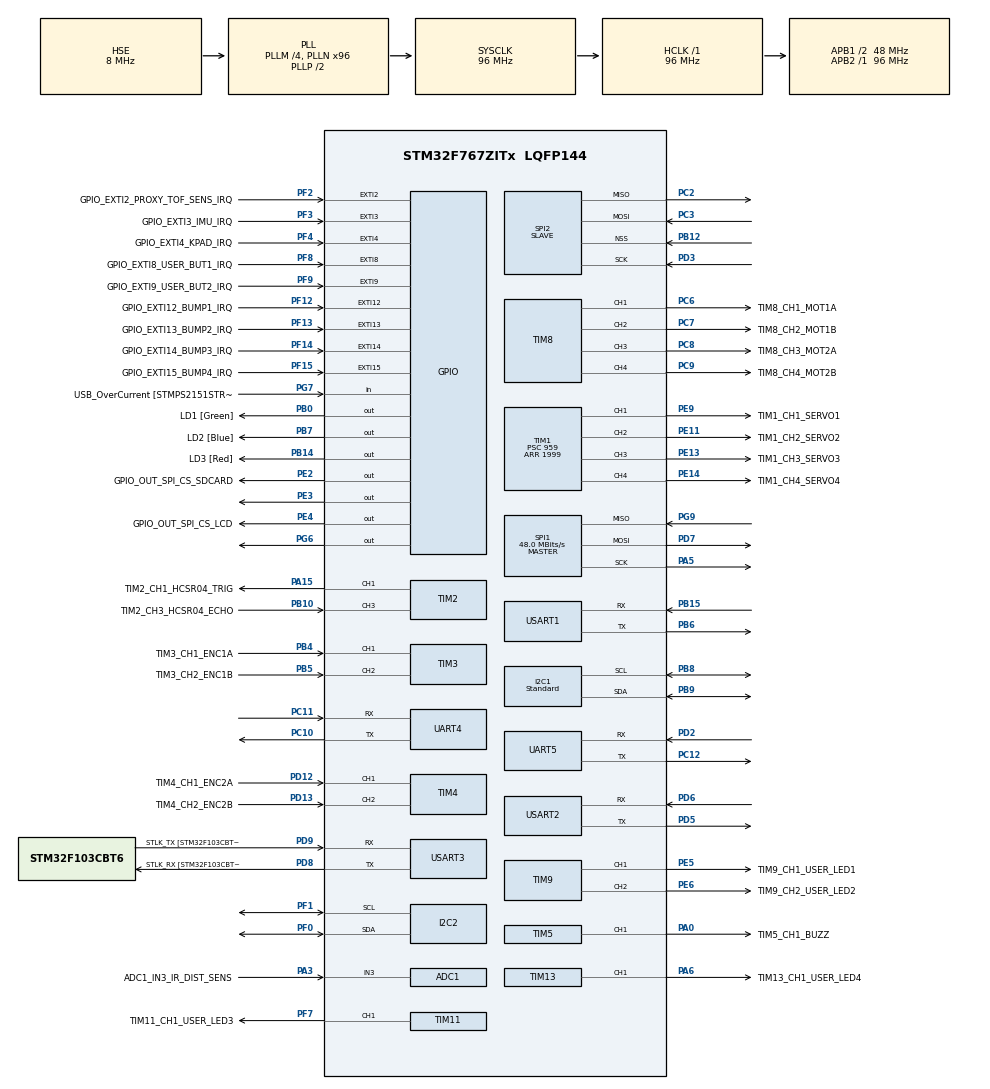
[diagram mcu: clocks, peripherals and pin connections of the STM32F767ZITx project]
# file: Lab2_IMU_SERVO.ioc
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ADC1.Channel-1\#ChannelRegularConversion=ADC_CHANNEL_3
ADC1.NbrOfConversionFlag=1
ADC1.Rank-1\#ChannelRegularConversion=1
ADC1.SamplingTime-1\#ChannelRegularConversion=ADC_SAMPLETIME_3CYCLES
ADC1.master=1
I2C1.I2C_Speed_Mode=I2C_Standard
I2C1.Timing=0x20303E5D
I2C2.Timing=0x20303E5D
Mcu.Family=STM32F7
Mcu.Name=STM32F767ZITx
Mcu.Package=LQFP144
NVIC.EXTI2_IRQn=true\:1\:0\:true\:false\:true\:true\:true\:true
NVIC.PriorityGroup=NVIC_PRIORITYGROUP_4
PA0/WKUP.GPIO_Label=TIM5_CH1_BUZZ
PA0/WKUP.Signal=S_TIM5_CH1
PA1.GPIO_Label=RMII_REF_CLK [LAN8742A-CZ-TR_REFCLK0]
PA1.Signal=ETH_REF_CLK
PA10.GPIO_Label=USB_ID
PA10.Signal=USB_OTG_FS_ID
PA11.GPIO_Label=USB_DM
PA11.Signal=USB_OTG_FS_DM
PA12.GPIO_Label=USB_DP
PA12.Signal=USB_OTG_FS_DP
PA13.GPIO_Label=TMS
PA13.Mode=Serial_Wire
PA13.Signal=SYS_JTMS-SWDIO
PA14.GPIO_Label=TCK
PA14.Mode=Serial_Wire
PA14.Signal=SYS_JTCK-SWCLK
PA15.GPIO_Label=TIM2_CH1_HCSR04_TRIG
PA15.Signal=S_TIM2_CH1_ETR
PA2.GPIO_Label=RMII_MDIO [LAN8742A-CZ-TR_MDIO]
PA2.Signal=ETH_MDIO
PA3.GPIO_Label=ADC1_IN3_IR_DIST_SENS
PA3.Signal=ADCx_IN3
PA5.Mode=Full_Duplex_Master
PA5.Signal=SPI1_SCK
PA6.GPIO_Label=TIM13_CH1_USER_LED4
PA6.Signal=S_TIM13_CH1
PA7.GPIO_Label=RMII_CRS_DV [LAN8742A-CZ-TR_CRS_DV]
PA7.Signal=ETH_CRS_DV
PA8.GPIO_Label=USB_SOF [TP1]
PA8.Signal=USB_OTG_FS_SOF
PA9.GPIO_Label=USB_VBUS
PA9.Signal=USB_OTG_FS_VBUS
PB0.GPIO_Label=LD1 [Green]
PB0.Signal=GPIO_Output
PB10.GPIO_Label=TIM2_CH3_HCSR04_ECHO
PB10.Signal=S_TIM2_CH3
PB12.Mode=NSS_Signal_Hard_Input
PB12.Signal=SPI2_NSS
PB13.GPIO_Label=RMII_TXD1 [LAN8742A-CZ-TR_TXD1]
PB13.Signal=ETH_TXD1
PB14.GPIO_Label=LD3 [Red]
PB14.Signal=GPIO_Output
PB15.Mode=Asynchronous
PB15.Signal=USART1_RX
PB3.GPIO_Label=SWO
PB3.Signal=SYS_JTDO-SWO
PB4.GPIO_Label=TIM3_CH1_ENC1A
PB4.Signal=S_TIM3_CH1
PB5.GPIO_Label=TIM3_CH2_ENC1B
PB5.Signal=S_TIM3_CH2
PB6.Mode=Asynchronous
PB6.Signal=USART1_TX
PB7.GPIO_Label=LD2 [Blue]
PB7.Signal=GPIO_Output
PB8.GPIO_Pu=GPIO_PULLUP
PB8.Mode=I2C
PB8.Signal=I2C1_SCL
PB9.GPIO_Pu=GPIO_PULLUP
PB9.Mode=I2C
PB9.Signal=I2C1_SDA
PC1.GPIO_Label=RMII_MDC [LAN8742A-CZ-TR_MDC]
PC1.Signal=ETH_MDC
PC10.Mode=Asynchronous
PC10.Signal=UART4_TX
PC11.Mode=Asynchronous
PC11.Signal=UART4_RX
PC12.Mode=Asynchronous
PC12.Signal=UART5_TX
PC14/OSC32_IN.Mode=LSE-External-Oscillator
PC14/OSC32_IN.Signal=RCC_OSC32_IN
PC15/OSC32_OUT.Mode=LSE-External-Oscillator
PC15/OSC32_OUT.Signal=RCC_OSC32_OUT
PC2.Mode=Full_Duplex_Slave
PC2.Signal=SPI2_MISO
PC3.Mode=Full_Duplex_Slave
PC3.Signal=SPI2_MOSI
PC4.GPIO_Label=RMII_RXD0 [LAN8742A-CZ-TR_RXD0]
PC4.Signal=ETH_RXD0
PC5.GPIO_Label=RMII_RXD1 [LAN8742A-CZ-TR_RXD1]
PC5.Signal=ETH_RXD1
PC6.GPIO_Label=TIM8_CH1_MOT1A
PC6.Signal=S_TIM8_CH1
PC7.GPIO_Label=TIM8_CH2_MOT1B
PC7.Signal=S_TIM8_CH2
PC8.GPIO_Label=TIM8_CH3_MOT2A
PC8.Signal=S_TIM8_CH3
PC9.GPIO_Label=TIM8_CH4_MOT2B
PC9.Signal=S_TIM8_CH4
PD12.GPIO_Label=TIM4_CH1_ENC2A
PD12.Signal=S_TIM4_CH1
PD13.GPIO_Label=TIM4_CH2_ENC2B
PD13.Signal=S_TIM4_CH2
PD2.Mode=Asynchronous
PD2.Signal=UART5_RX
PD3.Mode=Full_Duplex_Slave
PD3.Signal=SPI2_SCK
PD5.Mode=Asynchronous
PD5.Signal=USART2_TX
PD6.Mode=Asynchronous
PD6.Signal=USART2_RX
PD7.Mode=Full_Duplex_Master
PD7.Signal=SPI1_MOSI
PD8.GPIO_Label=STLK_RX [STM32F103CBT6_PA3]
PD8.Mode=Asynchronous
PD8.Signal=USART3_TX
PD9.GPIO_Label=STLK_TX [STM32F103CBT6_PA2]
PD9.Mode=Asynchronous
PD9.Signal=USART3_RX
PE11.GPIO_Label=TIM1_CH2_SERVO2
PE11.Signal=S_TIM1_CH2
PE13.GPIO_Label=TIM1_CH3_SERVO3
PE13.Signal=S_TIM1_CH3
PE14.GPIO_Label=TIM1_CH4_SERVO4
PE14.Signal=S_TIM1_CH4
PE2.GPIO_Label=GPIO_OUT_SPI_CS_SDCARD
PE2.Signal=GPIO_Output
PE3.Signal=GPIO_Output
PE4.GPIO_Label=GPIO_OUT_SPI_CS_LCD
PE4.Signal=GPIO_Output
PE5.GPIO_Label=TIM9_CH1_USER_LED1
PE5.Signal=S_TIM9_CH1
PE6.GPIO_Label=TIM9_CH2_USER_LED2
PE6.Signal=S_TIM9_CH2
PE9.GPIO_Label=TIM1_CH1_SERVO1
PE9.Signal=S_TIM1_CH1
PF0.GPIO_Pu=GPIO_PULLUP
PF0.Mode=I2C
PF0.Signal=I2C2_SDA
PF1.GPIO_Pu=GPIO_PULLUP
PF1.Mode=I2C
PF1.Signal=I2C2_SCL
PF12.GPIO_Label=GPIO_EXTI12_BUMP1_IRQ
PF12.Signal=GPXTI12
PF13.GPIO_Label=GPIO_EXTI13_BUMP2_IRQ
PF13.Signal=GPXTI13
PF14.GPIO_Label=GPIO_EXTI14_BUMP3_IRQ
PF14.Signal=GPXTI14
PF15.GPIO_Label=GPIO_EXTI15_BUMP4_IRQ
PF15.Signal=GPXTI15
PF2.GPIO_Label=GPIO_EXTI2_PROXY_TOF_SENS_IRQ
PF2.GPIO_ModeDefaultEXTI=GPIO_MODE_IT_FALLING
PF2.Signal=GPXTI2
PF3.GPIO_Label=GPIO_EXTI3_IMU_IRQ
PF3.Signal=GPXTI3
PF4.GPIO_Label=GPIO_EXTI4_KPAD_IRQ
PF4.Signal=GPXTI4
PF7.GPIO_Label=TIM11_CH1_USER_LED3
PF7.Signal=S_TIM11_CH1
PF8.GPIO_Label=GPIO_EXTI8_USER_BUT1_IRQ
PF8.Signal=GPXTI8
PF9.GPIO_Label=GPIO_EXTI9_USER_BUT2_IRQ
PF9.Signal=GPXTI9
PG11.GPIO_Label=RMII_TX_EN [LAN8742A-CZ-TR_TXEN]
PG11.Signal=ETH_TX_EN
PG13.GPIO_Label=RMII_TXD0 [LAN8742A-CZ-TR_TXD0]
PG13.Signal=ETH_TXD0
PG6.Signal=GPIO_Output
PG7.GPIO_Label=USB_OverCurrent [STMPS2151STR_FAULT]
PG7.Signal=GPIO_Input
PG9.Mode=Full_Duplex_Master
PG9.Signal=SPI1_MISO
PH0/OSC_IN.GPIO_Label=MCO [STM32F103CBT6_PA8]
PH0/OSC_IN.Mode=HSE-External-Clock-Source
PH0/OSC_IN.Signal=RCC_OSC_IN
PH1/OSC_OUT.Mode=HSE-External-Clock-Source
PH1/OSC_OUT.Signal=RCC_OSC_OUT
ProjectManager.HeapSize=0x200
ProjectManager.StackSize=0x400
ProjectManager.TargetToolchain=STM32CubeIDE
RCC.48MHZClocksFreq_Value=24000000
RCC.AHBFreq_Value=96000000
RCC.APB1CLKDivider=RCC_HCLK_DIV2
RCC.APB1Freq_Value=48000000
RCC.APB1TimFreq_Value=96000000
RCC.APB2Freq_Value=96000000
RCC.APB2TimFreq_Value=96000000
RCC.CortexFreq_Value=96000000
RCC.HCLKFreq_Value=96000000
RCC.HSE_VALUE=8000000
RCC.HSI_VALUE=16000000
RCC.PLLM=4
RCC.PLLMUL=RCC_PLL_MUL9
RCC.PLLN=96
RCC.PLLQ=4
RCC.PLLSourceVirtual=RCC_PLLSOURCE_HSE
RCC.PRESCALERUSB=RCC_USBCLKSOURCE_PLL_DIV1_5
RCC.SYSCLKFreq_VALUE=96000000
RCC.SYSCLKSource=RCC_SYSCLKSOURCE_PLLCLK
RCC.SYSCLKSourceVirtual=RCC_SYSCLKSOURCE_PLLCLK
RCC.USBFreq_Value=48000000
RCC.VCOOutputFreq_Value=192000000
SH.ADCx_IN3.0=ADC1_IN3,IN3
SH.S_TIM11_CH1.0=TIM11_CH1,PWM Generation1 CH1
SH.S_TIM13_CH1.0=TIM13_CH1,PWM Generation1 CH1
SH.S_TIM1_CH1.0=TIM1_CH1,PWM Generation1 CH1
SH.S_TIM1_CH2.0=TIM1_CH2,PWM Generation2 CH2
SH.S_TIM1_CH3.0=TIM1_CH3,PWM Generation3 CH3
SH.S_TIM1_CH4.0=TIM1_CH4,PWM Generation4 CH4
SH.S_TIM2_CH1_ETR.0=TIM2_CH1,PWM Generation1 CH1
SH.S_TIM2_CH3.0=TIM2_CH3,Input_Capture3_from_TI3
SH.S_TIM3_CH1.0=TIM3_CH1,Encoder_Interface
SH.S_TIM3_CH2.0=TIM3_CH2,Encoder_Interface
SH.S_TIM4_CH1.0=TIM4_CH1,Encoder_Interface
SH.S_TIM4_CH2.0=TIM4_CH2,Encoder_Interface
SH.S_TIM5_CH1.0=TIM5_CH1,PWM Generation1 CH1
SH.S_TIM8_CH1.0=TIM8_CH1,PWM Generation1 CH1
SH.S_TIM8_CH2.0=TIM8_CH2,PWM Generation2 CH2
SH.S_TIM8_CH3.0=TIM8_CH3,PWM Generation3 CH3
SH.S_TIM8_CH4.0=TIM8_CH4,PWM Generation4 CH4
SH.S_TIM9_CH1.0=TIM9_CH1,PWM Generation1 CH1
SH.S_TIM9_CH2.0=TIM9_CH2,PWM Generation2 CH2
SPI1.CalculateBaudRate=48.0 MBits/s
SPI1.Direction=SPI_DIRECTION_2LINES
SPI1.Mode=SPI_MODE_MASTER
SPI1.VirtualType=VM_MASTER
SPI2.Direction=SPI_DIRECTION_2LINES
SPI2.Mode=SPI_MODE_SLAVE
SPI2.VirtualNSS=VM_NSSHARD
SPI2.VirtualType=VM_SLAVE
TIM1.Channel-PWM\ Generation1\ CH1=TIM_CHANNEL_1
TIM1.Channel-PWM\ Generation2\ CH2=TIM_CHANNEL_2
TIM1.Channel-PWM\ Generation3\ CH3=TIM_CHANNEL_3
TIM1.Channel-PWM\ Generation4\ CH4=TIM_CHANNEL_4
TIM1.Period=1999
TIM1.Prescaler=959
TIM11.Channel=TIM_CHANNEL_1
TIM13.Channel=TIM_CHANNEL_1
TIM2.Channel-Input_Capture3_from_TI3=TIM_CHANNEL_3
TIM2.Channel-PWM\ Generation1\ CH1=TIM_CHANNEL_1
TIM5.Channel-PWM\ Generation1\ CH1=TIM_CHANNEL_1
TIM8.Channel-PWM\ Generation1\ CH1=TIM_CHANNEL_1
TIM8.Channel-PWM\ Generation2\ CH2=TIM_CHANNEL_2
TIM8.Channel-PWM\ Generation3\ CH3=TIM_CHANNEL_3
TIM8.Channel-PWM\ Generation4\ CH4=TIM_CHANNEL_4
TIM9.Channel-PWM\ Generation1\ CH1=TIM_CHANNEL_1
TIM9.Channel-PWM\ Generation2\ CH2=TIM_CHANNEL_2
USART1.VirtualMode-Asynchronous=VM_ASYNC
USART2.VirtualMode-Asynchronous=VM_ASYNC
USART3.VirtualMode-Asynchronous=VM_ASYNC
VP_TIM11_VS_ClockSourceINT.Mode=Enable_Timer
VP_TIM13_VS_ClockSourceINT.Mode=Enable_Timer
VP_TIM1_VS_ClockSourceINT.Mode=Internal
VP_TIM2_VS_ClockSourceINT.Mode=Internal
VP_TIM5_VS_ClockSourceINT.Mode=Internal
VP_TIM8_VS_ClockSourceINT.Mode=Internal
board=NUCLEO-F767ZI

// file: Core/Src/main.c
/* USER CODE BEGIN Header */
/**
 ******************************************************************************
 * @file           : main.c
 * @brief          : Main program body
 ******************************************************************************
 * @attention
 *
 * <h2><center>&copy; Copyright (c) 2021 STMicroelectronics.
 * All rights reserved.</center></h2>
 *
 * This software component is licensed by ST under BSD 3-Clause license,
 * the "License"; You may not use this file except in compliance with the
 * License. You may obtain a copy of the License at:
 *                        opensource.org/licenses/BSD-3-Clause
 *
 ******************************************************************************
 */
/* USER CODE END Header */
#include "main.h"

/* USER CODE BEGIN Includes */
#include <stdio.h>
#include "bno055.h"
#include "ertc-datalogger.h"
#include <math.h>
/* USER CODE END Includes */

/* USER CODE BEGIN PD */
#define HAL_TIMEOUT 100

#define I2C_TIMEOUT 200

// servos limits
#define SERVO_MAX_VALUE 200
#define SERVO_MIN_VALUE 100

// Conversion
#define RAD2DEG 57.2958
#define alfa 0.70

/* USER CODE END PD */

ADC_HandleTypeDef hadc1;

I2C_HandleTypeDef hi2c1;
I2C_HandleTypeDef hi2c2;

SPI_HandleTypeDef hspi1;
SPI_HandleTypeDef hspi2;

TIM_HandleTypeDef htim1;
TIM_HandleTypeDef htim2;
TIM_HandleTypeDef htim3;
TIM_HandleTypeDef htim4;
TIM_HandleTypeDef htim5;
TIM_HandleTypeDef htim8;
TIM_HandleTypeDef htim9;
TIM_HandleTypeDef htim11;
TIM_HandleTypeDef htim13;

UART_HandleTypeDef huart4;
UART_HandleTypeDef huart5;
UART_HandleTypeDef huart1;
UART_HandleTypeDef huart2;
UART_HandleTypeDef huart3;

void SystemClock_Config(void);
static void MX_GPIO_Init(void);
static void MX_USART3_UART_Init(void);
static void MX_ADC1_Init(void);
static void MX_I2C1_Init(void);
static void MX_I2C2_Init(void);
static void MX_SPI1_Init(void);
static void MX_TIM1_Init(void);
static void MX_TIM2_Init(void);
static void MX_TIM3_Init(void);
static void MX_TIM4_Init(void);
static void MX_TIM5_Init(void);
static void MX_TIM8_Init(void);
static void MX_UART4_Init(void);
static void MX_UART5_Init(void);
static void MX_USART1_UART_Init(void);
static void MX_USART2_UART_Init(void);
static void MX_TIM9_Init(void);
static void MX_SPI2_Init(void);
static void MX_TIM11_Init(void);
static void MX_TIM13_Init(void);
/* USER CODE BEGIN PFP */
extern void initialise_monitor_handles(void);
uint32_t saturate(uint32_t val, uint32_t min, uint32_t max);
/* USER CODE END PFP */

/* USER CODE BEGIN 0 */
void error()
{
  // printf("An error has occurred\n")
  while (1)
    ;
}

/*base structure to communicate with the imu*/
struct bno055_t bno055;

/* structure used to read the accel xyz data output as m/s2 or mg */
struct bno055_accel_double_t d_accel_xyz;
/* structure used to read the gyro xyz data output as dps or rps */
struct bno055_gyro_double_t d_gyro_xyz;

int8_t bus_read_wrapper(uint8_t dev_addr, uint8_t reg_addr, uint8_t *reg_data, uint8_t r_len)
{
  HAL_StatusTypeDef status;
  status = HAL_I2C_Mem_Read(&hi2c1, dev_addr << 1, reg_addr, 1, reg_data, r_len, I2C_TIMEOUT);
  return (int8_t)status;
}

int8_t bus_write_wrapper(uint8_t dev_addr, uint8_t reg_addr, uint8_t *reg_data, uint8_t wr_len)
{
  HAL_StatusTypeDef status;
  status = HAL_I2C_Mem_Write(&hi2c1, dev_addr << 1, reg_addr, 1, reg_data, wr_len, I2C_TIMEOUT);
  return (int8_t)status;
}

void delay_wrapper(u32 delay)
{
  HAL_Delay(delay);
}

uint32_t saturate(uint32_t val, uint32_t min, uint32_t max){
	if(val<min)
		return min;
	else if(val>max)
		return max;
	else
		return val;
}

float saturateFloat(float val, float min, float max){
	if(val<min)
		return min;
	else if(val>max)
		return max;
	else
		return val;
}

/* declare an ertc_dlog struct */
struct ertc_dlog logger;
struct datalog
{
	float ay; // It is not necessary to send everything also ay;
	float d_thx, d_thz;  // It is not necessary to send everything also d_thx, d_thy.
	float robot_tilt, tilt;
	//float robot_pan, pan;
	float theta1, theta2;
} logger_data;

int8_t pan = 0;
int8_t tilt = 0;
int8_t robot_tilt=0;
int8_t robot_pan= 0;

float angle = 0;
float theta2 = 0;
float G= 9.81; // [m/s] gravitational acceleration.

/* USER CODE END 0 */

/*---------------------------------------------------------------------------------------------------
 *
 * 										BEGIN OF MAIN
 *
 *----------------------------------------------------------------------------------------------------
 */
int main(void)
{

  /* MCU Configuration--------------------------------------------------------*/

  /* Reset of all peripherals, Initializes the Flash interface and the Systick. */
  HAL_Init();

  /* USER CODE BEGIN Init */
  // initialise_monitor_handles();
  /* USER CODE END Init */

  /* Configure the system clock */
  SystemClock_Config();

  /* Initialize all configured peripherals */
  MX_GPIO_Init();
  MX_USART3_UART_Init();
  MX_ADC1_Init();
  MX_I2C1_Init();
  MX_I2C2_Init();
  MX_SPI1_Init();
  MX_TIM1_Init();
  MX_TIM2_Init();
  MX_TIM3_Init();
  MX_TIM4_Init();
  MX_TIM5_Init();
  MX_TIM8_Init();
  MX_UART4_Init();
  MX_UART5_Init();
  MX_USART1_UART_Init();
  MX_USART2_UART_Init();
  MX_TIM9_Init();
  MX_SPI2_Init();
  MX_TIM11_Init();
  MX_TIM13_Init();
  /* USER CODE BEGIN 2 */

  /* Configure data logger  */
  logger.uart_handle = huart3; // for serial
  //logger.uart_handle = huart2; // for wifi

  /* Disable LCD SPI SS */
  HAL_GPIO_WritePin(GPIO_OUT_SPI_CS_LCD_GPIO_Port, GPIO_OUT_SPI_CS_LCD_Pin, GPIO_PIN_SET);

  bno055.bus_write = bus_write_wrapper;
  bno055.bus_read = bus_read_wrapper;
  bno055.delay_msec = delay_wrapper;
  bno055.dev_addr = 0x28;
  int32_t comres = bno055_init(&bno055);

  comres += bno055_set_power_mode(BNO055_POWER_MODE_NORMAL);
  comres += bno055_set_operation_mode(BNO055_OPERATION_MODE_AMG);

  HAL_TIM_PWM_Start(&htim1, TIM_CHANNEL_2);
  HAL_TIM_PWM_Start(&htim1, TIM_CHANNEL_3);

  /* USER CODE END 2 */

  // Computation of actual acceleration of the accelerometer.
  bno055_convert_double_accel_xyz_msq(&d_accel_xyz);
  G = sqrt(pow(d_accel_xyz.x, 2) + pow(d_accel_xyz.y,2) + pow(d_accel_xyz.z,2));

  /* Infinite loop */
  /* USER CODE BEGIN WHILE */
  while (1)
  {
	  HAL_Delay(20);
	  bno055_convert_double_accel_xyz_msq(&d_accel_xyz);
	  bno055_convert_double_gyro_xyz_rps(&d_gyro_xyz);

	  // Exercise 1 ------------------------------------------------------------------
	  robot_tilt=asin(d_accel_xyz.y/G)*RAD2DEG;	      // Pitch angle of the robot in deg
	  tilt=-robot_tilt;  //Control action for tilt control

	  // Bonus 1   -------------------------------------------------------------------
	  angle+=d_gyro_xyz.z*0.02*RAD2DEG; //dt isn't right because we have the delay about the sending data too
	  pan=-angle;

	  // Bonus 2   --------------------------------------------------------------------
	  float theta1 = asin(d_accel_xyz.y/G)*RAD2DEG;
	  theta2 += -d_gyro_xyz.x*0.02*RAD2DEG;
	  float theta = alfa*theta1+(1-alfa)*theta2;
	  tilt = - theta;

	  /* update pan-tilt camera */
	  __HAL_TIM_SET_COMPARE(&htim1, TIM_CHANNEL_3,
					(uint32_t)saturate((150+tilt*(50.0/45.0)), SERVO_MIN_VALUE, SERVO_MAX_VALUE)); // tilt
	  __HAL_TIM_SET_COMPARE(&htim1, TIM_CHANNEL_2,
					(uint32_t)saturate((150+pan*(50.0/45.0)), SERVO_MIN_VALUE, SERVO_MAX_VALUE)); // pan

      //htim8.Instance->CNT:

	  //logger_data.ax = d_accel_xyz.x;
	  logger_data.ay = d_accel_xyz.y;
	  //logger_data.az = d_accel_xyz.z;

	  logger_data.d_thx = d_gyro_xyz.x;
	  //logger_data.d_thy = d_gyro_xyz.y;
	  logger_data.d_thz = d_gyro_xyz.z;

	  //logger_data.robot_tilt=robot_tilt; // For bonus 1.
	  logger_data.robot_tilt= theta; // For bonus 2 we send the complete angle
	  logger_data.tilt=tilt;

	  //logger_data.robot_pan = angle;
	  //logger_data.pan = pan;

	  logger_data.theta1 = theta1;
	  logger_data.theta2 = theta2;

	  ertc_dlog_send(&logger, &logger_data, sizeof(logger_data)); //Check if someone is connected and waiting for data
	  ertc_dlog_update(&logger); // send data

  }
  /* USER CODE END WHILE */
}

/*------------------------------------------------------------------------------------------------
 *
 * 											END OF MAIN
 *
 * ----------------------------------------------------------------------------------------------------
 */

void SystemClock_Config(void)
{
  RCC_OscInitTypeDef RCC_OscInitStruct = {0};
  RCC_ClkInitTypeDef RCC_ClkInitStruct = {0};

  /** Configure LSE Drive Capability
  */
  HAL_PWR_EnableBkUpAccess();

  /** Configure the main internal regulator output voltage
  */
  __HAL_RCC_PWR_CLK_ENABLE();
  __HAL_PWR_VOLTAGESCALING_CONFIG(PWR_REGULATOR_VOLTAGE_SCALE3);

  /** Initializes the RCC Oscillators according to the specified parameters
  * in the RCC_OscInitTypeDef structure.
  */
  RCC_OscInitStruct.OscillatorType = RCC_OSCILLATORTYPE_HSE;
  RCC_OscInitStruct.HSEState = RCC_HSE_BYPASS;
  RCC_OscInitStruct.PLL.PLLState = RCC_PLL_ON;
  RCC_OscInitStruct.PLL.PLLSource = RCC_PLLSOURCE_HSE;
  RCC_OscInitStruct.PLL.PLLM = 4;
  RCC_OscInitStruct.PLL.PLLN = 96;
  RCC_OscInitStruct.PLL.PLLP = RCC_PLLP_DIV2;
  RCC_OscInitStruct.PLL.PLLQ = 4;
  RCC_OscInitStruct.PLL.PLLR = 2;
  if (HAL_RCC_OscConfig(&RCC_OscInitStruct) != HAL_OK)
  {
    Error_Handler();
  }

  /** Activate the Over-Drive mode
  */
  if (HAL_PWREx_EnableOverDrive() != HAL_OK)
  {
    Error_Handler();
  }

  /** Initializes the CPU, AHB and APB buses clocks
  */
  RCC_ClkInitStruct.ClockType = RCC_CLOCKTYPE_HCLK|RCC_CLOCKTYPE_SYSCLK
                              |RCC_CLOCKTYPE_PCLK1|RCC_CLOCKTYPE_PCLK2;
  RCC_ClkInitStruct.SYSCLKSource = RCC_SYSCLKSOURCE_PLLCLK;
  RCC_ClkInitStruct.AHBCLKDivider = RCC_SYSCLK_DIV1;
  RCC_ClkInitStruct.APB1CLKDivider = RCC_HCLK_DIV2;
  RCC_ClkInitStruct.APB2CLKDivider = RCC_HCLK_DIV1;

  if (HAL_RCC_ClockConfig(&RCC_ClkInitStruct, FLASH_LATENCY_3) != HAL_OK)
  {
    Error_Handler();
  }
}

static void MX_ADC1_Init(void)
{

  ADC_ChannelConfTypeDef sConfig = {0};

  /** Configure the global features of the ADC (Clock, Resolution, Data Alignment and number of conversion)
  */
  hadc1.Instance = ADC1;
  hadc1.Init.ClockPrescaler = ADC_CLOCK_SYNC_PCLK_DIV4;
  hadc1.Init.Resolution = ADC_RESOLUTION_12B;
  hadc1.Init.ScanConvMode = ADC_SCAN_DISABLE;
  hadc1.Init.ContinuousConvMode = DISABLE;
  hadc1.Init.DiscontinuousConvMode = DISABLE;
  hadc1.Init.ExternalTrigConvEdge = ADC_EXTERNALTRIGCONVEDGE_NONE;
  hadc1.Init.ExternalTrigConv = ADC_SOFTWARE_START;
  hadc1.Init.DataAlign = ADC_DATAALIGN_RIGHT;
  hadc1.Init.NbrOfConversion = 1;
  hadc1.Init.DMAContinuousRequests = DISABLE;
  hadc1.Init.EOCSelection = ADC_EOC_SINGLE_CONV;
  if (HAL_ADC_Init(&hadc1) != HAL_OK)
  {
    Error_Handler();
  }

  /** Configure for the selected ADC regular channel its corresponding rank in the sequencer and its sample time.
  */
  sConfig.Channel = ADC_CHANNEL_3;
  sConfig.Rank = ADC_REGULAR_RANK_1;
  sConfig.SamplingTime = ADC_SAMPLETIME_3CYCLES;
  if (HAL_ADC_ConfigChannel(&hadc1, &sConfig) != HAL_OK)
  {
    Error_Handler();
  }

}

static void MX_I2C1_Init(void)
{

  hi2c1.Instance = I2C1;
  hi2c1.Init.Timing = 0x20303E5D;
  hi2c1.Init.OwnAddress1 = 0;
  hi2c1.Init.AddressingMode = I2C_ADDRESSINGMODE_7BIT;
  hi2c1.Init.DualAddressMode = I2C_DUALADDRESS_DISABLE;
  hi2c1.Init.OwnAddress2 = 0;
  hi2c1.Init.OwnAddress2Masks = I2C_OA2_NOMASK;
  hi2c1.Init.GeneralCallMode = I2C_GENERALCALL_DISABLE;
  hi2c1.Init.NoStretchMode = I2C_NOSTRETCH_DISABLE;
  if (HAL_I2C_Init(&hi2c1) != HAL_OK)
  {
    Error_Handler();
  }

  /** Configure Analogue filter
  */
  if (HAL_I2CEx_ConfigAnalogFilter(&hi2c1, I2C_ANALOGFILTER_ENABLE) != HAL_OK)
  {
    Error_Handler();
  }

  /** Configure Digital filter
  */
  if (HAL_I2CEx_ConfigDigitalFilter(&hi2c1, 0) != HAL_OK)
  {
    Error_Handler();
  }

}

static void MX_I2C2_Init(void)
{

  hi2c2.Instance = I2C2;
  hi2c2.Init.Timing = 0x20303E5D;
  hi2c2.Init.OwnAddress1 = 0;
  hi2c2.Init.AddressingMode = I2C_ADDRESSINGMODE_7BIT;
  hi2c2.Init.DualAddressMode = I2C_DUALADDRESS_DISABLE;
  hi2c2.Init.OwnAddress2 = 0;
  hi2c2.Init.OwnAddress2Masks = I2C_OA2_NOMASK;
  hi2c2.Init.GeneralCallMode = I2C_GENERALCALL_DISABLE;
  hi2c2.Init.NoStretchMode = I2C_NOSTRETCH_DISABLE;
  if (HAL_I2C_Init(&hi2c2) != HAL_OK)
  {
    Error_Handler();
  }

  /** Configure Analogue filter
  */
  if (HAL_I2CEx_ConfigAnalogFilter(&hi2c2, I2C_ANALOGFILTER_ENABLE) != HAL_OK)
  {
    Error_Handler();
  }

  /** Configure Digital filter
  */
  if (HAL_I2CEx_ConfigDigitalFilter(&hi2c2, 0) != HAL_OK)
  {
    Error_Handler();
  }

}

static void MX_SPI1_Init(void)
{

  /* SPI1 parameter configuration*/
  hspi1.Instance = SPI1;
  hspi1.Init.Mode = SPI_MODE_MASTER;
  hspi1.Init.Direction = SPI_DIRECTION_2LINES;
  hspi1.Init.DataSize = SPI_DATASIZE_4BIT;
  hspi1.Init.CLKPolarity = SPI_POLARITY_LOW;
  hspi1.Init.CLKPhase = SPI_PHASE_1EDGE;
  hspi1.Init.NSS = SPI_NSS_SOFT;
  hspi1.Init.BaudRatePrescaler = SPI_BAUDRATEPRESCALER_2;
  hspi1.Init.FirstBit = SPI_FIRSTBIT_MSB;
  hspi1.Init.TIMode = SPI_TIMODE_DISABLE;
  hspi1.Init.CRCCalculation = SPI_CRCCALCULATION_DISABLE;
  hspi1.Init.CRCPolynomial = 7;
  hspi1.Init.CRCLength = SPI_CRC_LENGTH_DATASIZE;
  hspi1.Init.NSSPMode = SPI_NSS_PULSE_ENABLE;
  if (HAL_SPI_Init(&hspi1) != HAL_OK)
  {
    Error_Handler();
  }

}

static void MX_SPI2_Init(void)
{

  /* SPI2 parameter configuration*/
  hspi2.Instance = SPI2;
  hspi2.Init.Mode = SPI_MODE_SLAVE;
  hspi2.Init.Direction = SPI_DIRECTION_2LINES;
  hspi2.Init.DataSize = SPI_DATASIZE_4BIT;
  hspi2.Init.CLKPolarity = SPI_POLARITY_LOW;
  hspi2.Init.CLKPhase = SPI_PHASE_1EDGE;
  hspi2.Init.NSS = SPI_NSS_HARD_INPUT;
  hspi2.Init.FirstBit = SPI_FIRSTBIT_MSB;
  hspi2.Init.TIMode = SPI_TIMODE_DISABLE;
  hspi2.Init.CRCCalculation = SPI_CRCCALCULATION_DISABLE;
  hspi2.Init.CRCPolynomial = 7;
  hspi2.Init.CRCLength = SPI_CRC_LENGTH_DATASIZE;
  hspi2.Init.NSSPMode = SPI_NSS_PULSE_DISABLE;
  if (HAL_SPI_Init(&hspi2) != HAL_OK)
  {
    Error_Handler();
  }

}

static void MX_TIM1_Init(void)
{

  TIM_ClockConfigTypeDef sClockSourceConfig = {0};
  TIM_MasterConfigTypeDef sMasterConfig = {0};
  TIM_OC_InitTypeDef sConfigOC = {0};
  TIM_BreakDeadTimeConfigTypeDef sBreakDeadTimeConfig = {0};

  htim1.Instance = TIM1;
  htim1.Init.Prescaler = 959;
  htim1.Init.CounterMode = TIM_COUNTERMODE_UP;
  htim1.Init.Period = 1999;
  htim1.Init.ClockDivision = TIM_CLOCKDIVISION_DIV1;
  htim1.Init.RepetitionCounter = 0;
  htim1.Init.AutoReloadPreload = TIM_AUTORELOAD_PRELOAD_DISABLE;
  if (HAL_TIM_Base_Init(&htim1) != HAL_OK)
  {
    Error_Handler();
  }
  sClockSourceConfig.ClockSource = TIM_CLOCKSOURCE_INTERNAL;
  if (HAL_TIM_ConfigClockSource(&htim1, &sClockSourceConfig) != HAL_OK)
  {
    Error_Handler();
  }
  if (HAL_TIM_PWM_Init(&htim1) != HAL_OK)
  {
    Error_Handler();
  }
  sMasterConfig.MasterOutputTrigger = TIM_TRGO_RESET;
  sMasterConfig.MasterOutputTrigger2 = TIM_TRGO2_RESET;
  sMasterConfig.MasterSlaveMode = TIM_MASTERSLAVEMODE_DISABLE;
  if (HAL_TIMEx_MasterConfigSynchronization(&htim1, &sMasterConfig) != HAL_OK)
  {
    Error_Handler();
  }
  sConfigOC.OCMode = TIM_OCMODE_PWM1;
  sConfigOC.Pulse = 0;
  sConfigOC.OCPolarity = TIM_OCPOLARITY_HIGH;
  sConfigOC.OCNPolarity = TIM_OCNPOLARITY_HIGH;
  sConfigOC.OCFastMode = TIM_OCFAST_DISABLE;
  sConfigOC.OCIdleState = TIM_OCIDLESTATE_RESET;
  sConfigOC.OCNIdleState = TIM_OCNIDLESTATE_RESET;
  if (HAL_TIM_PWM_ConfigChannel(&htim1, &sConfigOC, TIM_CHANNEL_1) != HAL_OK)
  {
    Error_Handler();
  }
  if (HAL_TIM_PWM_ConfigChannel(&htim1, &sConfigOC, TIM_CHANNEL_2) != HAL_OK)
  {
    Error_Handler();
  }
  if (HAL_TIM_PWM_ConfigChannel(&htim1, &sConfigOC, TIM_CHANNEL_3) != HAL_OK)
  {
    Error_Handler();
  }
  if (HAL_TIM_PWM_ConfigChannel(&htim1, &sConfigOC, TIM_CHANNEL_4) != HAL_OK)
  {
    Error_Handler();
  }
  sBreakDeadTimeConfig.OffStateRunMode = TIM_OSSR_DISABLE;
  sBreakDeadTimeConfig.OffStateIDLEMode = TIM_OSSI_DISABLE;
  sBreakDeadTimeConfig.LockLevel = TIM_LOCKLEVEL_OFF;
  sBreakDeadTimeConfig.DeadTime = 0;
  sBreakDeadTimeConfig.BreakState = TIM_BREAK_DISABLE;
  sBreakDeadTimeConfig.BreakPolarity = TIM_BREAKPOLARITY_HIGH;
  sBreakDeadTimeConfig.BreakFilter = 0;
  sBreakDeadTimeConfig.Break2State = TIM_BREAK2_DISABLE;
  sBreakDeadTimeConfig.Break2Polarity = TIM_BREAK2POLARITY_HIGH;
  sBreakDeadTimeConfig.Break2Filter = 0;
  sBreakDeadTimeConfig.AutomaticOutput = TIM_AUTOMATICOUTPUT_DISABLE;
  if (HAL_TIMEx_ConfigBreakDeadTime(&htim1, &sBreakDeadTimeConfig) != HAL_OK)
  {
    Error_Handler();
  }
  HAL_TIM_MspPostInit(&htim1);

}

static void MX_TIM2_Init(void)
{

  TIM_ClockConfigTypeDef sClockSourceConfig = {0};
  TIM_MasterConfigTypeDef sMasterConfig = {0};
  TIM_OC_InitTypeDef sConfigOC = {0};
  TIM_IC_InitTypeDef sConfigIC = {0};

  htim2.Instance = TIM2;
  htim2.Init.Prescaler = 0;
  htim2.Init.CounterMode = TIM_COUNTERMODE_UP;
  htim2.Init.Period = 4294967295;
  htim2.Init.ClockDivision = TIM_CLOCKDIVISION_DIV1;
  htim2.Init.AutoReloadPreload = TIM_AUTORELOAD_PRELOAD_DISABLE;
  if (HAL_TIM_Base_Init(&htim2) != HAL_OK)
  {
    Error_Handler();
  }
  sClockSourceConfig.ClockSource = TIM_CLOCKSOURCE_INTERNAL;
  if (HAL_TIM_ConfigClockSource(&htim2, &sClockSourceConfig) != HAL_OK)
  {
    Error_Handler();
  }
  if (HAL_TIM_PWM_Init(&htim2) != HAL_OK)
  {
    Error_Handler();
  }
  if (HAL_TIM_IC_Init(&htim2) != HAL_OK)
  {
    Error_Handler();
  }
  sMasterConfig.MasterOutputTrigger = TIM_TRGO_RESET;
  sMasterConfig.MasterSlaveMode = TIM_MASTERSLAVEMODE_DISABLE;
  if (HAL_TIMEx_MasterConfigSynchronization(&htim2, &sMasterConfig) != HAL_OK)
  {
    Error_Handler();
  }
  sConfigOC.OCMode = TIM_OCMODE_PWM1;
  sConfigOC.Pulse = 0;
  sConfigOC.OCPolarity = TIM_OCPOLARITY_HIGH;
  sConfigOC.OCFastMode = TIM_OCFAST_DISABLE;
  if (HAL_TIM_PWM_ConfigChannel(&htim2, &sConfigOC, TIM_CHANNEL_1) != HAL_OK)
  {
    Error_Handler();
  }
  sConfigIC.ICPolarity = TIM_INPUTCHANNELPOLARITY_RISING;
  sConfigIC.ICSelection = TIM_ICSELECTION_DIRECTTI;
  sConfigIC.ICPrescaler = TIM_ICPSC_DIV1;
  sConfigIC.ICFilter = 0;
  if (HAL_TIM_IC_ConfigChannel(&htim2, &sConfigIC, TIM_CHANNEL_3) != HAL_OK)
  {
    Error_Handler();
  }
  HAL_TIM_MspPostInit(&htim2);

}

static void MX_TIM3_Init(void)
{

  TIM_Encoder_InitTypeDef sConfig = {0};
  TIM_MasterConfigTypeDef sMasterConfig = {0};

  htim3.Instance = TIM3;
  htim3.Init.Prescaler = 0;
  htim3.Init.CounterMode = TIM_COUNTERMODE_UP;
  htim3.Init.Period = 65535;
  htim3.Init.ClockDivision = TIM_CLOCKDIVISION_DIV1;
  htim3.Init.AutoReloadPreload = TIM_AUTORELOAD_PRELOAD_DISABLE;
  sConfig.EncoderMode = TIM_ENCODERMODE_TI1;
  sConfig.IC1Polarity = TIM_ICPOLARITY_RISING;
  sConfig.IC1Selection = TIM_ICSELECTION_DIRECTTI;
  sConfig.IC1Prescaler = TIM_ICPSC_DIV1;
  sConfig.IC1Filter = 0;
  sConfig.IC2Polarity = TIM_ICPOLARITY_RISING;
  sConfig.IC2Selection = TIM_ICSELECTION_DIRECTTI;
  sConfig.IC2Prescaler = TIM_ICPSC_DIV1;
  sConfig.IC2Filter = 0;
  if (HAL_TIM_Encoder_Init(&htim3, &sConfig) != HAL_OK)
  {
    Error_Handler();
  }
  sMasterConfig.MasterOutputTrigger = TIM_TRGO_RESET;
  sMasterConfig.MasterSlaveMode = TIM_MASTERSLAVEMODE_DISABLE;
  if (HAL_TIMEx_MasterConfigSynchronization(&htim3, &sMasterConfig) != HAL_OK)
  {
    Error_Handler();
  }

}

static void MX_TIM4_Init(void)
{

  TIM_Encoder_InitTypeDef sConfig = {0};
  TIM_MasterConfigTypeDef sMasterConfig = {0};

  htim4.Instance = TIM4;
  htim4.Init.Prescaler = 0;
  htim4.Init.CounterMode = TIM_COUNTERMODE_UP;
  htim4.Init.Period = 65535;
  htim4.Init.ClockDivision = TIM_CLOCKDIVISION_DIV1;
  htim4.Init.AutoReloadPreload = TIM_AUTORELOAD_PRELOAD_DISABLE;
  sConfig.EncoderMode = TIM_ENCODERMODE_TI1;
  sConfig.IC1Polarity = TIM_ICPOLARITY_RISING;
  sConfig.IC1Selection = TIM_ICSELECTION_DIRECTTI;
  sConfig.IC1Prescaler = TIM_ICPSC_DIV1;
  sConfig.IC1Filter = 0;
  sConfig.IC2Polarity = TIM_ICPOLARITY_RISING;
  sConfig.IC2Selection = TIM_ICSELECTION_DIRECTTI;
  sConfig.IC2Prescaler = TIM_ICPSC_DIV1;
  sConfig.IC2Filter = 0;
  if (HAL_TIM_Encoder_Init(&htim4, &sConfig) != HAL_OK)
  {
    Error_Handler();
  }
  sMasterConfig.MasterOutputTrigger = TIM_TRGO_RESET;
  sMasterConfig.MasterSlaveMode = TIM_MASTERSLAVEMODE_DISABLE;
  if (HAL_TIMEx_MasterConfigSynchronization(&htim4, &sMasterConfig) != HAL_OK)
  {
    Error_Handler();
  }

}

static void MX_TIM5_Init(void)
{

  TIM_ClockConfigTypeDef sClockSourceConfig = {0};
  TIM_MasterConfigTypeDef sMasterConfig = {0};
  TIM_OC_InitTypeDef sConfigOC = {0};

  htim5.Instance = TIM5;
  htim5.Init.Prescaler = 0;
  htim5.Init.CounterMode = TIM_COUNTERMODE_UP;
  htim5.Init.Period = 4294967295;
  htim5.Init.ClockDivision = TIM_CLOCKDIVISION_DIV1;
  htim5.Init.AutoReloadPreload = TIM_AUTORELOAD_PRELOAD_DISABLE;
  if (HAL_TIM_Base_Init(&htim5) != HAL_OK)
  {
    Error_Handler();
  }
  sClockSourceConfig.ClockSource = TIM_CLOCKSOURCE_INTERNAL;
  if (HAL_TIM_ConfigClockSource(&htim5, &sClockSourceConfig) != HAL_OK)
  {
    Error_Handler();
  }
  if (HAL_TIM_PWM_Init(&htim5) != HAL_OK)
  {
    Error_Handler();
  }
  sMasterConfig.MasterOutputTrigger = TIM_TRGO_RESET;
  sMasterConfig.MasterSlaveMode = TIM_MASTERSLAVEMODE_DISABLE;
  if (HAL_TIMEx_MasterConfigSynchronization(&htim5, &sMasterConfig) != HAL_OK)
  {
    Error_Handler();
  }
  sConfigOC.OCMode = TIM_OCMODE_PWM1;
  sConfigOC.Pulse = 0;
  sConfigOC.OCPolarity = TIM_OCPOLARITY_HIGH;
  sConfigOC.OCFastMode = TIM_OCFAST_DISABLE;
  if (HAL_TIM_PWM_ConfigChannel(&htim5, &sConfigOC, TIM_CHANNEL_1) != HAL_OK)
  {
    Error_Handler();
  }
  HAL_TIM_MspPostInit(&htim5);

}

static void MX_TIM8_Init(void)
{

  TIM_ClockConfigTypeDef sClockSourceConfig = {0};
  TIM_MasterConfigTypeDef sMasterConfig = {0};
  TIM_OC_InitTypeDef sConfigOC = {0};
  TIM_BreakDeadTimeConfigTypeDef sBreakDeadTimeConfig = {0};

  htim8.Instance = TIM8;
  htim8.Init.Prescaler = 0;
  htim8.Init.CounterMode = TIM_COUNTERMODE_UP;
  htim8.Init.Period = 65535;
  htim8.Init.ClockDivision = TIM_CLOCKDIVISION_DIV1;
  htim8.Init.RepetitionCounter = 0;
  htim8.Init.AutoReloadPreload = TIM_AUTORELOAD_PRELOAD_DISABLE;
  if (HAL_TIM_Base_Init(&htim8) != HAL_OK)
  {
    Error_Handler();
  }
  sClockSourceConfig.ClockSource = TIM_CLOCKSOURCE_INTERNAL;
  if (HAL_TIM_ConfigClockSource(&htim8, &sClockSourceConfig) != HAL_OK)
  {
    Error_Handler();
  }
  if (HAL_TIM_PWM_Init(&htim8) != HAL_OK)
  {
    Error_Handler();
  }
  sMasterConfig.MasterOutputTrigger = TIM_TRGO_RESET;
  sMasterConfig.MasterOutputTrigger2 = TIM_TRGO2_RESET;
  sMasterConfig.MasterSlaveMode = TIM_MASTERSLAVEMODE_DISABLE;
  if (HAL_TIMEx_MasterConfigSynchronization(&htim8, &sMasterConfig) != HAL_OK)
  {
    Error_Handler();
  }
  sConfigOC.OCMode = TIM_OCMODE_PWM1;
  sConfigOC.Pulse = 0;
  sConfigOC.OCPolarity = TIM_OCPOLARITY_HIGH;
  sConfigOC.OCNPolarity = TIM_OCNPOLARITY_HIGH;
  sConfigOC.OCFastMode = TIM_OCFAST_DISABLE;
  sConfigOC.OCIdleState = TIM_OCIDLESTATE_RESET;
  sConfigOC.OCNIdleState = TIM_OCNIDLESTATE_RESET;
  if (HAL_TIM_PWM_ConfigChannel(&htim8, &sConfigOC, TIM_CHANNEL_1) != HAL_OK)
  {
    Error_Handler();
  }
  if (HAL_TIM_PWM_ConfigChannel(&htim8, &sConfigOC, TIM_CHANNEL_2) != HAL_OK)
  {
    Error_Handler();
  }
  if (HAL_TIM_PWM_ConfigChannel(&htim8, &sConfigOC, TIM_CHANNEL_3) != HAL_OK)
  {
    Error_Handler();
  }
  if (HAL_TIM_PWM_ConfigChannel(&htim8, &sConfigOC, TIM_CHANNEL_4) != HAL_OK)
  {
    Error_Handler();
  }
  sBreakDeadTimeConfig.OffStateRunMode = TIM_OSSR_DISABLE;
  sBreakDeadTimeConfig.OffStateIDLEMode = TIM_OSSI_DISABLE;
  sBreakDeadTimeConfig.LockLevel = TIM_LOCKLEVEL_OFF;
  sBreakDeadTimeConfig.DeadTime = 0;
  sBreakDeadTimeConfig.BreakState = TIM_BREAK_DISABLE;
  sBreakDeadTimeConfig.BreakPolarity = TIM_BREAKPOLARITY_HIGH;
  sBreakDeadTimeConfig.BreakFilter = 0;
  sBreakDeadTimeConfig.Break2State = TIM_BREAK2_DISABLE;
  sBreakDeadTimeConfig.Break2Polarity = TIM_BREAK2POLARITY_HIGH;
  sBreakDeadTimeConfig.Break2Filter = 0;
  sBreakDeadTimeConfig.AutomaticOutput = TIM_AUTOMATICOUTPUT_DISABLE;
  if (HAL_TIMEx_ConfigBreakDeadTime(&htim8, &sBreakDeadTimeConfig) != HAL_OK)
  {
    Error_Handler();
  }
  HAL_TIM_MspPostInit(&htim8);

}

static void MX_TIM9_Init(void)
{

  TIM_OC_InitTypeDef sConfigOC = {0};

  htim9.Instance = TIM9;
  htim9.Init.Prescaler = 0;
  htim9.Init.CounterMode = TIM_COUNTERMODE_UP;
  htim9.Init.Period = 65535;
  htim9.Init.ClockDivision = TIM_CLOCKDIVISION_DIV1;
  htim9.Init.AutoReloadPreload = TIM_AUTORELOAD_PRELOAD_DISABLE;
  if (HAL_TIM_PWM_Init(&htim9) != HAL_OK)
  {
    Error_Handler();
  }
  sConfigOC.OCMode = TIM_OCMODE_PWM1;
  sConfigOC.Pulse = 0;
  sConfigOC.OCPolarity = TIM_OCPOLARITY_HIGH;
  sConfigOC.OCFastMode = TIM_OCFAST_DISABLE;
  if (HAL_TIM_PWM_ConfigChannel(&htim9, &sConfigOC, TIM_CHANNEL_1) != HAL_OK)
  {
    Error_Handler();
  }
  if (HAL_TIM_PWM_ConfigChannel(&htim9, &sConfigOC, TIM_CHANNEL_2) != HAL_OK)
  {
    Error_Handler();
  }
  HAL_TIM_MspPostInit(&htim9);

}

static void MX_TIM11_Init(void)
{

  TIM_OC_InitTypeDef sConfigOC = {0};

  htim11.Instance = TIM11;
  htim11.Init.Prescaler = 0;
  htim11.Init.CounterMode = TIM_COUNTERMODE_UP;
  htim11.Init.Period = 65535;
  htim11.Init.ClockDivision = TIM_CLOCKDIVISION_DIV1;
  htim11.Init.AutoReloadPreload = TIM_AUTORELOAD_PRELOAD_DISABLE;
  if (HAL_TIM_Base_Init(&htim11) != HAL_OK)
  {
    Error_Handler();
  }
  if (HAL_TIM_PWM_Init(&htim11) != HAL_OK)
  {
    Error_Handler();
  }
  sConfigOC.OCMode = TIM_OCMODE_PWM1;
  sConfigOC.Pulse = 0;
  sConfigOC.OCPolarity = TIM_OCPOLARITY_HIGH;
  sConfigOC.OCFastMode = TIM_OCFAST_DISABLE;
  if (HAL_TIM_PWM_ConfigChannel(&htim11, &sConfigOC, TIM_CHANNEL_1) != HAL_OK)
  {
    Error_Handler();
  }
  HAL_TIM_MspPostInit(&htim11);

}

static void MX_TIM13_Init(void)
{

  TIM_OC_InitTypeDef sConfigOC = {0};

  htim13.Instance = TIM13;
  htim13.Init.Prescaler = 0;
  htim13.Init.CounterMode = TIM_COUNTERMODE_UP;
  htim13.Init.Period = 65535;
  htim13.Init.ClockDivision = TIM_CLOCKDIVISION_DIV1;
  htim13.Init.AutoReloadPreload = TIM_AUTORELOAD_PRELOAD_DISABLE;
  if (HAL_TIM_Base_Init(&htim13) != HAL_OK)
  {
    Error_Handler();
  }
  if (HAL_TIM_PWM_Init(&htim13) != HAL_OK)
  {
    Error_Handler();
  }
  sConfigOC.OCMode = TIM_OCMODE_PWM1;
  sConfigOC.Pulse = 0;
  sConfigOC.OCPolarity = TIM_OCPOLARITY_HIGH;
  sConfigOC.OCFastMode = TIM_OCFAST_DISABLE;
  if (HAL_TIM_PWM_ConfigChannel(&htim13, &sConfigOC, TIM_CHANNEL_1) != HAL_OK)
  {
    Error_Handler();
  }
  HAL_TIM_MspPostInit(&htim13);

}

static void MX_UART4_Init(void)
{

  huart4.Instance = UART4;
  huart4.Init.BaudRate = 115200;
  huart4.Init.WordLength = UART_WORDLENGTH_8B;
  huart4.Init.StopBits = UART_STOPBITS_1;
  huart4.Init.Parity = UART_PARITY_NONE;
  huart4.Init.Mode = UART_MODE_TX_RX;
  huart4.Init.HwFlowCtl = UART_HWCONTROL_NONE;
  huart4.Init.OverSampling = UART_OVERSAMPLING_16;
  huart4.Init.OneBitSampling = UART_ONE_BIT_SAMPLE_DISABLE;
  huart4.AdvancedInit.AdvFeatureInit = UART_ADVFEATURE_NO_INIT;
  if (HAL_UART_Init(&huart4) != HAL_OK)
  {
    Error_Handler();
  }

}

static void MX_UART5_Init(void)
{

  huart5.Instance = UART5;
  huart5.Init.BaudRate = 115200;
  huart5.Init.WordLength = UART_WORDLENGTH_8B;
  huart5.Init.StopBits = UART_STOPBITS_1;
  huart5.Init.Parity = UART_PARITY_NONE;
  huart5.Init.Mode = UART_MODE_TX_RX;
  huart5.Init.HwFlowCtl = UART_HWCONTROL_NONE;
  huart5.Init.OverSampling = UART_OVERSAMPLING_16;
  huart5.Init.OneBitSampling = UART_ONE_BIT_SAMPLE_DISABLE;
  huart5.AdvancedInit.AdvFeatureInit = UART_ADVFEATURE_NO_INIT;
  if (HAL_UART_Init(&huart5) != HAL_OK)
  {
    Error_Handler();
  }

}

static void MX_USART1_UART_Init(void)
{

  huart1.Instance = USART1;
  huart1.Init.BaudRate = 115200;
  huart1.Init.WordLength = UART_WORDLENGTH_8B;
  huart1.Init.StopBits = UART_STOPBITS_1;
  huart1.Init.Parity = UART_PARITY_NONE;
  huart1.Init.Mode = UART_MODE_TX_RX;
  huart1.Init.HwFlowCtl = UART_HWCONTROL_NONE;
  huart1.Init.OverSampling = UART_OVERSAMPLING_16;
  huart1.Init.OneBitSampling = UART_ONE_BIT_SAMPLE_DISABLE;
  huart1.AdvancedInit.AdvFeatureInit = UART_ADVFEATURE_NO_INIT;
  if (HAL_UART_Init(&huart1) != HAL_OK)
  {
    Error_Handler();
  }

}

static void MX_USART2_UART_Init(void)
{

  huart2.Instance = USART2;
  huart2.Init.BaudRate = 115200;
  huart2.Init.WordLength = UART_WORDLENGTH_8B;
  huart2.Init.StopBits = UART_STOPBITS_1;
  huart2.Init.Parity = UART_PARITY_NONE;
  huart2.Init.Mode = UART_MODE_TX_RX;
  huart2.Init.HwFlowCtl = UART_HWCONTROL_NONE;
  huart2.Init.OverSampling = UART_OVERSAMPLING_16;
  huart2.Init.OneBitSampling = UART_ONE_BIT_SAMPLE_DISABLE;
  huart2.AdvancedInit.AdvFeatureInit = UART_ADVFEATURE_NO_INIT;
  if (HAL_UART_Init(&huart2) != HAL_OK)
  {
    Error_Handler();
  }

}

static void MX_USART3_UART_Init(void)
{

  huart3.Instance = USART3;
  huart3.Init.BaudRate = 115200;
  huart3.Init.WordLength = UART_WORDLENGTH_8B;
  huart3.Init.StopBits = UART_STOPBITS_1;
  huart3.Init.Parity = UART_PARITY_NONE;
  huart3.Init.Mode = UART_MODE_TX_RX;
  huart3.Init.HwFlowCtl = UART_HWCONTROL_NONE;
  huart3.Init.OverSampling = UART_OVERSAMPLING_16;
  huart3.Init.OneBitSampling = UART_ONE_BIT_SAMPLE_DISABLE;
  huart3.AdvancedInit.AdvFeatureInit = UART_ADVFEATURE_NO_INIT;
  if (HAL_UART_Init(&huart3) != HAL_OK)
  {
    Error_Handler();
  }

}

static void MX_GPIO_Init(void)
{
  GPIO_InitTypeDef GPIO_InitStruct = {0};

  /* GPIO Ports Clock Enable */
  __HAL_RCC_GPIOE_CLK_ENABLE();
  __HAL_RCC_GPIOC_CLK_ENABLE();
  __HAL_RCC_GPIOF_CLK_ENABLE();
  __HAL_RCC_GPIOH_CLK_ENABLE();
  __HAL_RCC_GPIOA_CLK_ENABLE();
  __HAL_RCC_GPIOB_CLK_ENABLE();
  __HAL_RCC_GPIOD_CLK_ENABLE();
  __HAL_RCC_GPIOG_CLK_ENABLE();

  /*Configure GPIO pin Output Level */
  HAL_GPIO_WritePin(GPIOE, GPIO_OUT_SPI_CS_SDCARD_Pin|GPIO_PIN_3|GPIO_OUT_SPI_CS_LCD_Pin, GPIO_PIN_RESET);

  /*Configure GPIO pin Output Level */
  HAL_GPIO_WritePin(GPIOB, LD1_Pin|LD3_Pin|LD2_Pin, GPIO_PIN_RESET);

  /*Configure GPIO pin Output Level */
  HAL_GPIO_WritePin(GPIOG, GPIO_PIN_6, GPIO_PIN_RESET);

  /*Configure GPIO pins : GPIO_OUT_SPI_CS_SDCARD_Pin PE3 GPIO_OUT_SPI_CS_LCD_Pin */
  GPIO_InitStruct.Pin = GPIO_OUT_SPI_CS_SDCARD_Pin|GPIO_PIN_3|GPIO_OUT_SPI_CS_LCD_Pin;
  GPIO_InitStruct.Mode = GPIO_MODE_OUTPUT_PP;
  GPIO_InitStruct.Pull = GPIO_NOPULL;
  GPIO_InitStruct.Speed = GPIO_SPEED_FREQ_LOW;
  HAL_GPIO_Init(GPIOE, &GPIO_InitStruct);

  /*Configure GPIO pin : GPIO_EXTI2_PROXY_TOF_SENS_IRQ_Pin */
  GPIO_InitStruct.Pin = GPIO_EXTI2_PROXY_TOF_SENS_IRQ_Pin;
  GPIO_InitStruct.Mode = GPIO_MODE_IT_FALLING;
  GPIO_InitStruct.Pull = GPIO_NOPULL;
  HAL_GPIO_Init(GPIO_EXTI2_PROXY_TOF_SENS_IRQ_GPIO_Port, &GPIO_InitStruct);

  /*Configure GPIO pins : GPIO_EXTI3_IMU_IRQ_Pin GPIO_EXTI4_KPAD_IRQ_Pin GPIO_EXTI8_USER_BUT1_IRQ_Pin GPIO_EXTI9_USER_BUT2_IRQ_Pin
                           GPIO_EXTI12_BUMP1_IRQ_Pin GPIO_EXTI13_BUMP2_IRQ_Pin GPIO_EXTI14_BUMP3_IRQ_Pin GPIO_EXTI15_BUMP4_IRQ_Pin */
  GPIO_InitStruct.Pin = GPIO_EXTI3_IMU_IRQ_Pin|GPIO_EXTI4_KPAD_IRQ_Pin|GPIO_EXTI8_USER_BUT1_IRQ_Pin|GPIO_EXTI9_USER_BUT2_IRQ_Pin
                          |GPIO_EXTI12_BUMP1_IRQ_Pin|GPIO_EXTI13_BUMP2_IRQ_Pin|GPIO_EXTI14_BUMP3_IRQ_Pin|GPIO_EXTI15_BUMP4_IRQ_Pin;
  GPIO_InitStruct.Mode = GPIO_MODE_IT_RISING;
  GPIO_InitStruct.Pull = GPIO_NOPULL;
  HAL_GPIO_Init(GPIOF, &GPIO_InitStruct);

  /*Configure GPIO pins : RMII_MDC_Pin RMII_RXD0_Pin RMII_RXD1_Pin */
  GPIO_InitStruct.Pin = RMII_MDC_Pin|RMII_RXD0_Pin|RMII_RXD1_Pin;
  GPIO_InitStruct.Mode = GPIO_MODE_AF_PP;
  GPIO_InitStruct.Pull = GPIO_NOPULL;
  GPIO_InitStruct.Speed = GPIO_SPEED_FREQ_VERY_HIGH;
  GPIO_InitStruct.Alternate = GPIO_AF11_ETH;
  HAL_GPIO_Init(GPIOC, &GPIO_InitStruct);

  /*Configure GPIO pins : RMII_REF_CLK_Pin RMII_MDIO_Pin RMII_CRS_DV_Pin */
  GPIO_InitStruct.Pin = RMII_REF_CLK_Pin|RMII_MDIO_Pin|RMII_CRS_DV_Pin;
  GPIO_InitStruct.Mode = GPIO_MODE_AF_PP;
  GPIO_InitStruct.Pull = GPIO_NOPULL;
  GPIO_InitStruct.Speed = GPIO_SPEED_FREQ_VERY_HIGH;
  GPIO_InitStruct.Alternate = GPIO_AF11_ETH;
  HAL_GPIO_Init(GPIOA, &GPIO_InitStruct);

  /*Configure GPIO pins : LD1_Pin LD3_Pin LD2_Pin */
  GPIO_InitStruct.Pin = LD1_Pin|LD3_Pin|LD2_Pin;
  GPIO_InitStruct.Mode = GPIO_MODE_OUTPUT_PP;
  GPIO_InitStruct.Pull = GPIO_NOPULL;
  GPIO_InitStruct.Speed = GPIO_SPEED_FREQ_LOW;
  HAL_GPIO_Init(GPIOB, &GPIO_InitStruct);

  /*Configure GPIO pin : RMII_TXD1_Pin */
  GPIO_InitStruct.Pin = RMII_TXD1_Pin;
  GPIO_InitStruct.Mode = GPIO_MODE_AF_PP;
  GPIO_InitStruct.Pull = GPIO_NOPULL;
  GPIO_InitStruct.Speed = GPIO_SPEED_FREQ_VERY_HIGH;
  GPIO_InitStruct.Alternate = GPIO_AF11_ETH;
  HAL_GPIO_Init(RMII_TXD1_GPIO_Port, &GPIO_InitStruct);

  /*Configure GPIO pin : PG6 */
  GPIO_InitStruct.Pin = GPIO_PIN_6;
  GPIO_InitStruct.Mode = GPIO_MODE_OUTPUT_PP;
  GPIO_InitStruct.Pull = GPIO_NOPULL;
  GPIO_InitStruct.Speed = GPIO_SPEED_FREQ_LOW;
  HAL_GPIO_Init(GPIOG, &GPIO_InitStruct);

  /*Configure GPIO pin : USB_OverCurrent_Pin */
  GPIO_InitStruct.Pin = USB_OverCurrent_Pin;
  GPIO_InitStruct.Mode = GPIO_MODE_INPUT;
  GPIO_InitStruct.Pull = GPIO_NOPULL;
  HAL_GPIO_Init(USB_OverCurrent_GPIO_Port, &GPIO_InitStruct);

  /*Configure GPIO pins : USB_SOF_Pin USB_ID_Pin USB_DM_Pin USB_DP_Pin */
  GPIO_InitStruct.Pin = USB_SOF_Pin|USB_ID_Pin|USB_DM_Pin|USB_DP_Pin;
  GPIO_InitStruct.Mode = GPIO_MODE_AF_PP;
  GPIO_InitStruct.Pull = GPIO_NOPULL;
  GPIO_InitStruct.Speed = GPIO_SPEED_FREQ_VERY_HIGH;
  GPIO_InitStruct.Alternate = GPIO_AF10_OTG_FS;
  HAL_GPIO_Init(GPIOA, &GPIO_InitStruct);

  /*Configure GPIO pin : USB_VBUS_Pin */
  GPIO_InitStruct.Pin = USB_VBUS_Pin;
  GPIO_InitStruct.Mode = GPIO_MODE_INPUT;
  GPIO_InitStruct.Pull = GPIO_NOPULL;
  HAL_GPIO_Init(USB_VBUS_GPIO_Port, &GPIO_InitStruct);

  /*Configure GPIO pins : RMII_TX_EN_Pin RMII_TXD0_Pin */
  GPIO_InitStruct.Pin = RMII_TX_EN_Pin|RMII_TXD0_Pin;
  GPIO_InitStruct.Mode = GPIO_MODE_AF_PP;
  GPIO_InitStruct.Pull = GPIO_NOPULL;
  GPIO_InitStruct.Speed = GPIO_SPEED_FREQ_VERY_HIGH;
  GPIO_InitStruct.Alternate = GPIO_AF11_ETH;
  HAL_GPIO_Init(GPIOG, &GPIO_InitStruct);

  /* EXTI interrupt init*/
  HAL_NVIC_SetPriority(EXTI2_IRQn, 1, 0);
  HAL_NVIC_EnableIRQ(EXTI2_IRQn);

}

void Error_Handler(void)
{
  __disable_irq();
  while (1)
  {
  }
}
